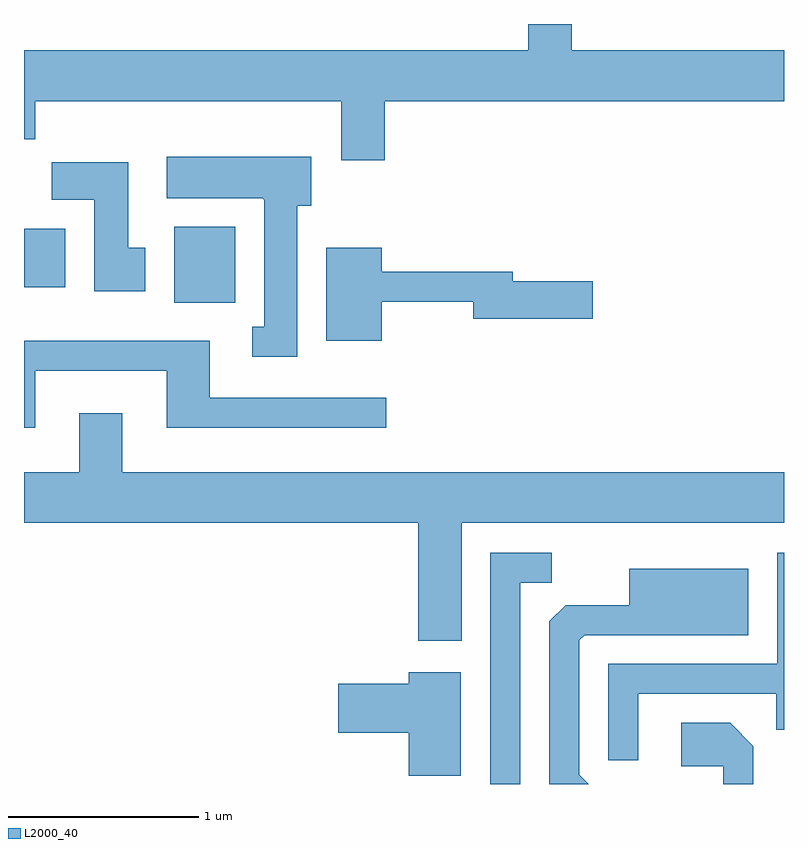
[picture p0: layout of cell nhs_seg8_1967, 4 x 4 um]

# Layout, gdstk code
import gdstk
lib = gdstk.Library(unit=1e-6, precision=1e-09)
def R(c, l, rs):  # rectangles x0, y0, x1, y1
    for r in rs: c.add(gdstk.rectangle(r[:2], r[2:], *l))
def P(c, l, *ps):  # polygons
    for p in ps: c.add(gdstk.Polygon(p, *l))
L2000_40 = (2000, 40)

nhs_seg8_1967 = lib.new_cell('nhs_seg8_1967')
R(nhs_seg8_1967, L2000_40, [(244.401,1870.876,244.724,1871.274), (243.611,1870.956,243.829,1871.264)])
P(nhs_seg8_1967, L2000_40, [(245.509,1871.936),(247.611,1871.936),(247.611,1872.204),(246.494,1872.204),(246.494,1872.342),(246.266,1872.342),(246.266,1872.204),(243.611,1872.204),(243.611,1871.736),(243.669,1871.736),(243.669,1871.936),(245.281,1871.936),(245.281,1871.626),(245.509,1871.626)],
  [(245.049,1871.386),(245.124,1871.386),(245.124,1871.644),(244.361,1871.644),(244.361,1871.426),(244.87,1871.426),(244.87,1871.42),(244.876,1871.42),(244.876,1870.749),(244.813,1870.749),(244.813,1870.591),(245.049,1870.591)],
  [(244.249,1871.164),(244.159,1871.164),(244.159,1871.614),(243.756,1871.614),(243.756,1871.416),(243.981,1871.416),(243.981,1870.936),(244.249,1870.936)],
  [(245.494,1870.881),(245.976,1870.881),(245.976,1870.791),(246.604,1870.791),(246.604,1870.989),(246.184,1870.989),(246.184,1871.039),(245.494,1871.039),(245.494,1871.164),(245.201,1871.164),(245.201,1870.676),(245.494,1870.676)],
  [(243.669,1870.516),(244.361,1870.516),(244.361,1870.216),(245.518,1870.216),(245.518,1870.374),(244.589,1870.374),(244.589,1870.674),(243.611,1870.674),(243.611,1870.216),(243.669,1870.216)],
  [(245.914,1869.716),(247.611,1869.716),(247.611,1869.984),(244.129,1869.984),(244.129,1870.294),(243.901,1870.294),(243.901,1869.984),(243.611,1869.984),(243.611,1869.716),(245.686,1869.716),(245.686,1869.096),(245.914,1869.096)],
  [(246.224,1869.401),(246.388,1869.401),(246.388,1869.559),(246.066,1869.559),(246.066,1868.342),(246.224,1868.342)],
  [(246.844,1868.816),(247.571,1868.816),(247.571,1868.628),(247.611,1868.628),(247.611,1869.559),(247.576,1869.559),(247.576,1868.974),(246.686,1868.974),(246.686,1868.468),(246.844,1868.468)],
  [(246.534,1868.392),(246.534,1869.099),(246.562,1869.126),(247.424,1869.126),(247.424,1869.474),(246.796,1869.474),(246.796,1869.284),(246.462,1869.284),(246.376,1869.199),(246.376,1868.342),(246.584,1868.342)],
  [(245.909,1868.929),(245.636,1868.929),(245.636,1868.869),(245.266,1868.869),(245.266,1868.611),(245.636,1868.611),(245.636,1868.386),(245.909,1868.386)],
  [(247.449,1868.542),(247.327,1868.664),(247.071,1868.664),(247.071,1868.436),(247.291,1868.436),(247.291,1868.342),(247.449,1868.342)])

lib.write_gds('nhs_seg8_1967.gds')
